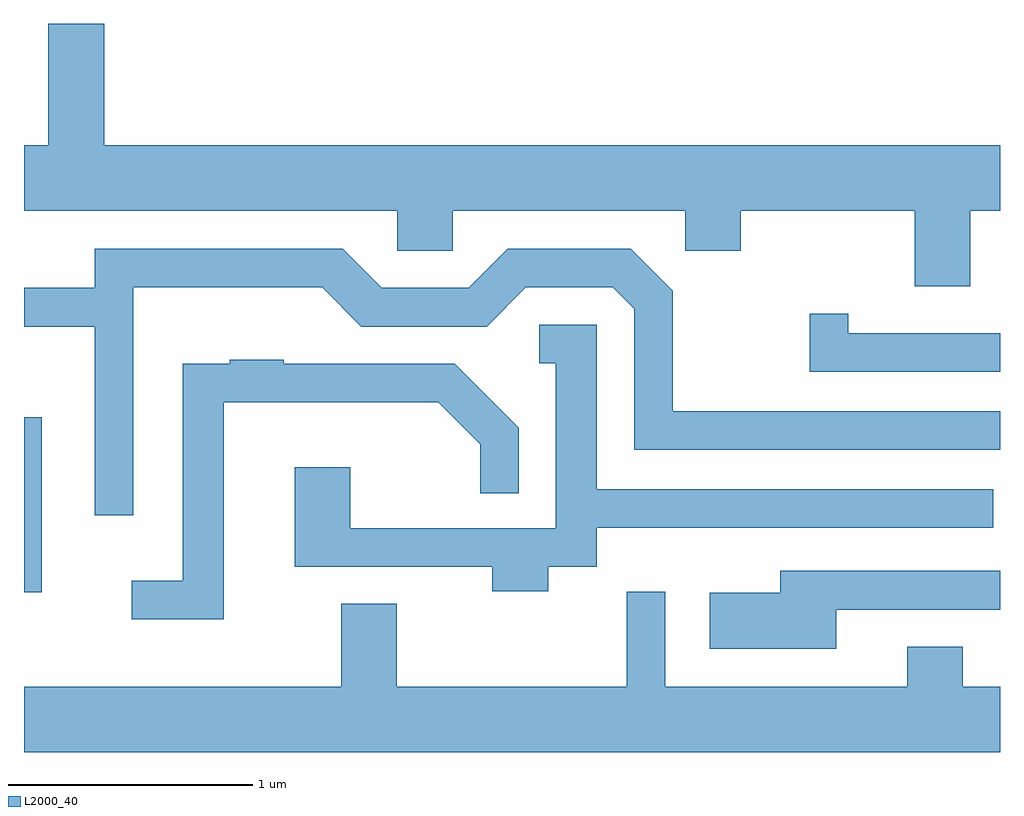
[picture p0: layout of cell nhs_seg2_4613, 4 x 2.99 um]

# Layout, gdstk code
import gdstk
lib = gdstk.Library(unit=1e-6, precision=1e-09)
def R(c, l, rs):  # rectangles x0, y0, x1, y1
    for r in rs: c.add(gdstk.rectangle(r[:2], r[2:], *l))
def P(c, l, *ps):  # polygons
    for p in ps: c.add(gdstk.Polygon(p, *l))
L2000_40 = (2000, 40)

nhs_seg2_4613 = lib.new_cell('nhs_seg2_4613')
R(nhs_seg2_4613, L2000_40, [(321.611,993.471,321.684,994.189)])
P(nhs_seg2_4613, L2000_40, [(325.489,995.036),(325.611,995.036),(325.611,995.304),(321.939,995.304),(321.939,995.802),(321.711,995.802),(321.711,995.304),(321.611,995.304),(321.611,995.036),(323.141,995.036),(323.141,994.871),(323.369,994.871),(323.369,995.036),(324.321,995.036),(324.321,994.871),(324.549,994.871),(324.549,995.036),(325.261,995.036),(325.261,994.726),(325.489,994.726)],
  [(322.059,994.721),(322.834,994.721),(322.994,994.561),(323.507,994.561),(323.667,994.721),(324.024,994.721),(324.111,994.634),(324.111,994.056),(325.611,994.056),(325.611,994.214),(324.269,994.214),(324.269,994.707),(324.097,994.879),(323.594,994.879),(323.434,994.719),(323.077,994.719),(322.917,994.879),(321.901,994.879),(321.901,994.719),(321.611,994.719),(321.611,994.561),(321.901,994.561),(321.901,993.788),(322.059,993.788)],
  [(325.611,994.534),(324.989,994.534),(324.989,994.613),(324.831,994.613),(324.831,994.376),(325.611,994.376)],
  [(323.759,993.576),(323.959,993.576),(323.959,993.736),(325.583,993.736),(325.583,993.894),(323.959,993.894),(323.959,994.569),(323.723,994.569),(323.723,994.411),(323.791,994.411),(323.791,993.734),(322.949,993.734),(322.949,993.984),(322.721,993.984),(322.721,993.576),(323.531,993.576),(323.531,993.476),(323.759,993.476)],
  [(322.429,994.251),(323.309,994.251),(323.481,994.079),(323.481,993.878),(323.639,993.878),(323.639,994.147),(323.377,994.409),(322.675,994.409),(322.675,994.424),(322.455,994.424),(322.455,994.409),(322.261,994.409),(322.261,993.519),(322.053,993.519),(322.053,993.361),(322.429,993.361)],
  [(324.939,993.401),(325.611,993.401),(325.611,993.559),(324.711,993.559),(324.711,993.469),(324.421,993.469),(324.421,993.241),(324.939,993.241)],
  [(325.611,993.084),(325.459,993.084),(325.459,993.249),(325.231,993.249),(325.231,993.084),(324.239,993.084),(324.239,993.473),(324.081,993.473),(324.081,993.084),(323.139,993.084),(323.139,993.424),(322.911,993.424),(322.911,993.084),(321.611,993.084),(321.611,992.816),(325.611,992.816)])

lib.write_gds('nhs_seg2_4613.gds')
